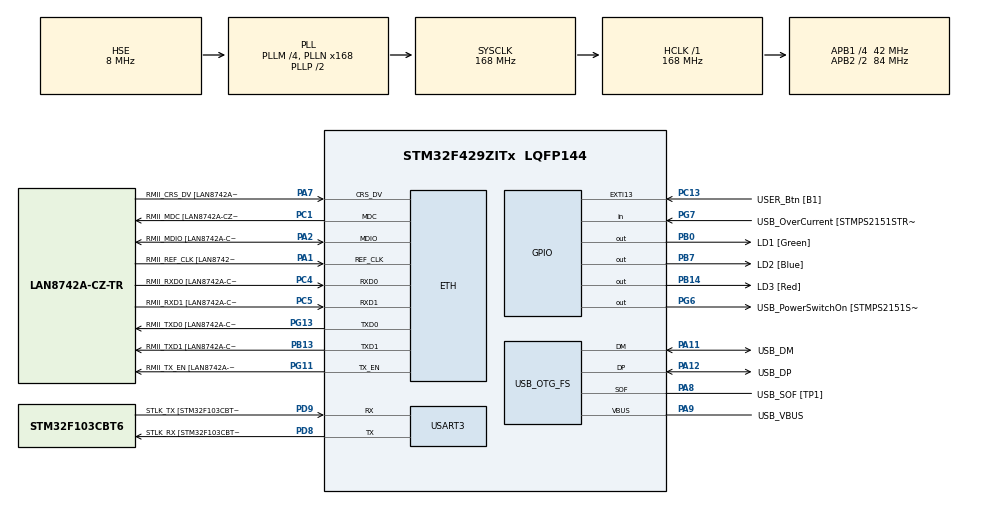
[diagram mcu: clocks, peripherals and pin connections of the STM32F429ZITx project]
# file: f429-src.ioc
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ETH.MediaInterface=HAL_ETH_RMII_MODE
ETH.PHY_Name=LAN8742A_PHY_ADDRESS
ETH.PHY_Value=0
ETH.PhyAddress=0
Mcu.Family=STM32F4
Mcu.Name=STM32F429ZITx
Mcu.Package=LQFP144
NVIC.PriorityGroup=NVIC_PRIORITYGROUP_4
PA1.GPIO_Label=RMII_REF_CLK [LAN8742A-CZ-TR_REFCLK0]
PA1.Mode=RMII
PA1.Signal=ETH_REF_CLK
PA10.GPIO_Label=USB_ID
PA10.Signal=USB_OTG_FS_ID
PA11.GPIO_Label=USB_DM
PA11.Mode=Device_Only
PA11.Signal=USB_OTG_FS_DM
PA12.GPIO_Label=USB_DP
PA12.Mode=Device_Only
PA12.Signal=USB_OTG_FS_DP
PA13.GPIO_Label=TMS
PA13.Mode=Serial_Wire
PA13.Signal=SYS_JTMS-SWDIO
PA14.GPIO_Label=TCK
PA14.Mode=Serial_Wire
PA14.Signal=SYS_JTCK-SWCLK
PA2.GPIO_Label=RMII_MDIO [LAN8742A-CZ-TR_MDIO]
PA2.Mode=RMII
PA2.Signal=ETH_MDIO
PA7.GPIO_Label=RMII_CRS_DV [LAN8742A-CZ-TR_CRS_DV]
PA7.Mode=RMII
PA7.Signal=ETH_CRS_DV
PA8.GPIO_Label=USB_SOF [TP1]
PA8.Mode=Activate_SOF_FS
PA8.Signal=USB_OTG_FS_SOF
PA9.GPIO_Label=USB_VBUS
PA9.Mode=Activate_VBUS
PA9.Signal=USB_OTG_FS_VBUS
PB0.GPIO_Label=LD1 [Green]
PB0.Signal=GPIO_Output
PB13.GPIO_Label=RMII_TXD1 [LAN8742A-CZ-TR_TXD1]
PB13.Mode=RMII
PB13.Signal=ETH_TXD1
PB14.GPIO_Label=LD3 [Red]
PB14.Signal=GPIO_Output
PB7.GPIO_Label=LD2 [Blue]
PB7.Signal=GPIO_Output
PC1.GPIO_Label=RMII_MDC [LAN8742A-CZ-TR_MDC]
PC1.Mode=RMII
PC1.Signal=ETH_MDC
PC13.GPIO_Label=USER_Btn [B1]
PC13.Signal=GPXTI13
PC14/OSC32_IN.Mode=LSE-External-Oscillator
PC14/OSC32_IN.Signal=RCC_OSC32_IN
PC15/OSC32_OUT.Mode=LSE-External-Oscillator
PC15/OSC32_OUT.Signal=RCC_OSC32_OUT
PC4.GPIO_Label=RMII_RXD0 [LAN8742A-CZ-TR_RXD0]
PC4.Mode=RMII
PC4.Signal=ETH_RXD0
PC5.GPIO_Label=RMII_RXD1 [LAN8742A-CZ-TR_RXD1]
PC5.Mode=RMII
PC5.Signal=ETH_RXD1
PD8.GPIO_Label=STLK_RX [STM32F103CBT6_PA3]
PD8.Mode=Asynchronous
PD8.Signal=USART3_TX
PD9.GPIO_Label=STLK_TX [STM32F103CBT6_PA2]
PD9.Mode=Asynchronous
PD9.Signal=USART3_RX
PG11.GPIO_Label=RMII_TX_EN [LAN8742A-CZ-TR_TXEN]
PG11.Mode=RMII
PG11.Signal=ETH_TX_EN
PG13.GPIO_Label=RMII_TXD0 [LAN8742A-CZ-TR_TXD0]
PG13.Mode=RMII
PG13.Signal=ETH_TXD0
PG6.GPIO_Label=USB_PowerSwitchOn [STMPS2151STR_EN]
PG6.Signal=GPIO_Output
PG7.GPIO_Label=USB_OverCurrent [STMPS2151STR_FAULT]
PG7.Signal=GPIO_Input
PH0/OSC_IN.GPIO_Label=MCO [STM32F103CBT6_PA8]
PH0/OSC_IN.Mode=HSE-External-Clock-Source
PH0/OSC_IN.Signal=RCC_OSC_IN
PH1/OSC_OUT.Mode=HSE-External-Clock-Source
PH1/OSC_OUT.Signal=RCC_OSC_OUT
ProjectManager.HeapSize=0x200
ProjectManager.StackSize=0x400
ProjectManager.TargetToolchain=Makefile
RCC.48MHZClocksFreq_Value=48000000
RCC.AHBFreq_Value=168000000
RCC.APB1CLKDivider=RCC_HCLK_DIV4
RCC.APB1Freq_Value=42000000
RCC.APB1TimFreq_Value=84000000
RCC.APB2CLKDivider=RCC_HCLK_DIV2
RCC.APB2Freq_Value=84000000
RCC.APB2TimCLKDivider=2
RCC.APB2TimFreq_Value=168000000
RCC.CortexFreq_Value=168000000
RCC.HCLKFreq_Value=168000000
RCC.HSE_VALUE=8000000
RCC.HSI_VALUE=16000000
RCC.PLLM=4
RCC.PLLMUL=RCC_PLL_MUL9
RCC.PLLN=168
RCC.PLLQ=7
RCC.PRESCALERUSB=RCC_USBCLKSOURCE_PLL_DIV1_5
RCC.SYSCLKFreq_VALUE=168000000
RCC.SYSCLKSource=RCC_SYSCLKSOURCE_PLLCLK
RCC.SYSCLKSourceVirtual=RCC_SYSCLKSOURCE_PLLCLK
RCC.USBFreq_Value=48000000
RCC.VCOOutputFreq_Value=336000000
USART3.VirtualMode=VM_ASYNC
USB_OTG_FS.VirtualMode=Device_Only
board=NUCLEO-F429ZI

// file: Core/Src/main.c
/* USER CODE BEGIN Header */
/**
  ******************************************************************************
  * @file           : main.c
  * @brief          : Main program body
  ******************************************************************************
  * @attention
  *
  * Copyright (c) 2023 STMicroelectronics.
  * All rights reserved.
  *
  * This software is licensed under terms that can be found in the LICENSE file
  * in the root directory of this software component.
  * If no LICENSE file comes with this software, it is provided AS-IS.
  *
  ******************************************************************************
  */
/* USER CODE END Header */
#include "main.h"
#include "eth.h"
#include "usart.h"
#include "usb_otg.h"
#include "gpio.h"

/* USER CODE BEGIN Includes */
#include "perf_counter.h"
#include "adm.h"
#include "corr.h"
#include "eco.h"
/* USER CODE END Includes */

/* USER CODE BEGIN PV */
#define TEST_2
#ifdef TEST_1
int16_t in1_test[3] = {1, 2, 3};
int16_t in2_test[3] = {0, 1, 2};
#endif /* TEST_1 */
#ifdef TEST_2
int16_t in1_test[3] = {1, -2, 3};
int16_t in2_test[3] = {0, 1, 2};
#endif /* TEST_2 */

/* USER CODE END PV */

void SystemClock_Config(void);

int main(void)
{

  /* MCU Configuration--------------------------------------------------------*/

  /* Reset of all peripherals, Initializes the Flash interface and the Systick. */
  HAL_Init();
  // Activa contador de ciclos (iniciar una sola vez)
  perf_counter_init();

  /* Configure the system clock */
  SystemClock_Config();

  /* Initialize all configured peripherals */
  MX_GPIO_Init();
  MX_ETH_Init();
  MX_USART3_UART_Init();
  MX_USB_OTG_FS_PCD_Init();
  /* USER CODE BEGIN 2 */
  /* ASM implementation */
  int16_t out[5];
  perf_counter_reset();
  asm_corr(in1_test, in2_test, out, 3);
  const volatile uint32_t Ciclos = perf_counter_get();
  /* C implementation */
  int16_t out1[5];
  corr(in1_test, in2_test, out1, 3);

  app_eco();

  app_adm();
  /* USER CODE END 2 */

  /* Infinite loop */
  while (1)
  {

  }
}

void SystemClock_Config(void)
{
  RCC_OscInitTypeDef RCC_OscInitStruct = {0};
  RCC_ClkInitTypeDef RCC_ClkInitStruct = {0};

  /** Configure the main internal regulator output voltage
  */
  __HAL_RCC_PWR_CLK_ENABLE();
  __HAL_PWR_VOLTAGESCALING_CONFIG(PWR_REGULATOR_VOLTAGE_SCALE1);

  /** Initializes the RCC Oscillators according to the specified parameters
  * in the RCC_OscInitTypeDef structure.
  */
  RCC_OscInitStruct.OscillatorType = RCC_OSCILLATORTYPE_HSE;
  RCC_OscInitStruct.HSEState = RCC_HSE_BYPASS;
  RCC_OscInitStruct.PLL.PLLState = RCC_PLL_ON;
  RCC_OscInitStruct.PLL.PLLSource = RCC_PLLSOURCE_HSE;
  RCC_OscInitStruct.PLL.PLLM = 4;
  RCC_OscInitStruct.PLL.PLLN = 168;
  RCC_OscInitStruct.PLL.PLLP = RCC_PLLP_DIV2;
  RCC_OscInitStruct.PLL.PLLQ = 7;
  if (HAL_RCC_OscConfig(&RCC_OscInitStruct) != HAL_OK)
  {
    Error_Handler();
  }

  /** Initializes the CPU, AHB and APB buses clocks
  */
  RCC_ClkInitStruct.ClockType = RCC_CLOCKTYPE_HCLK|RCC_CLOCKTYPE_SYSCLK
                              |RCC_CLOCKTYPE_PCLK1|RCC_CLOCKTYPE_PCLK2;
  RCC_ClkInitStruct.SYSCLKSource = RCC_SYSCLKSOURCE_PLLCLK;
  RCC_ClkInitStruct.AHBCLKDivider = RCC_SYSCLK_DIV1;
  RCC_ClkInitStruct.APB1CLKDivider = RCC_HCLK_DIV4;
  RCC_ClkInitStruct.APB2CLKDivider = RCC_HCLK_DIV2;

  if (HAL_RCC_ClockConfig(&RCC_ClkInitStruct, FLASH_LATENCY_5) != HAL_OK)
  {
    Error_Handler();
  }
}

void Error_Handler(void)
{
  __disable_irq();
  while (1)
  {
  }
}
